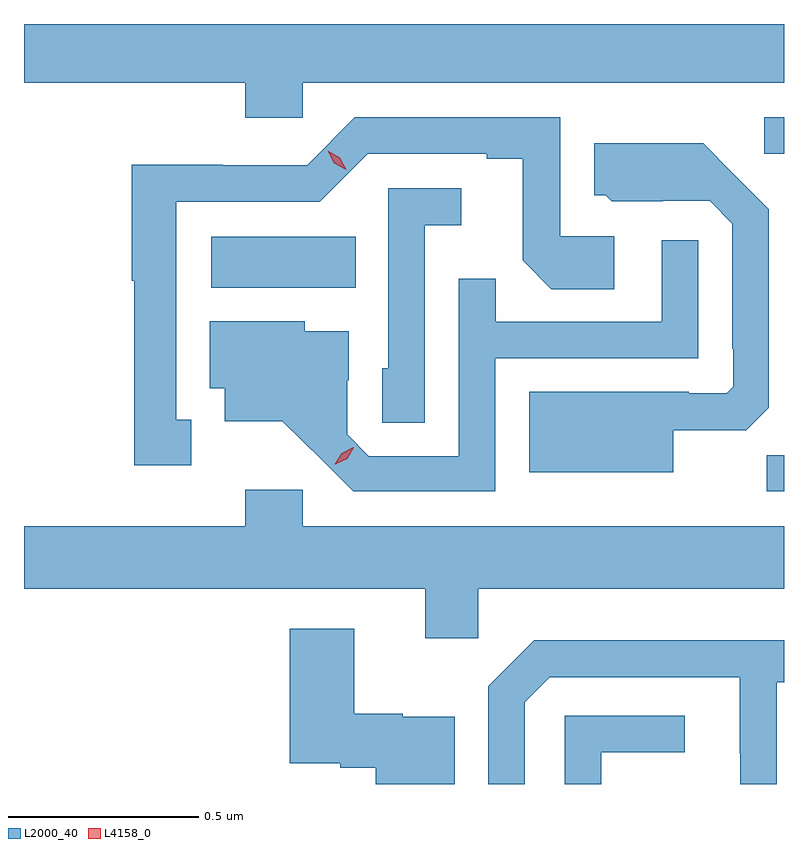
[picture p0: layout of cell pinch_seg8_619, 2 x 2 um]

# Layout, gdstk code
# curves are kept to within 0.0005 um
import gdstk
lib = gdstk.Library(unit=1e-6, precision=1e-09)
def R(c, l, rs):  # rectangles x0, y0, x1, y1
    for r in rs: c.add(gdstk.rectangle(r[:2], r[2:], *l))
def P(c, l, *ps):  # polygons
    for p in ps: c.add(gdstk.Polygon(p, *l))
L2000_40 = (2000, 40)
L4158_0 = (4158, 0)

pinch_seg8_619 = lib.new_cell('pinch_seg8_619')
R(pinch_seg8_619, L2000_40, [(169.918,1100.772,169.963,1100.867), (168.456,1101.308,168.836,1101.442), (169.911,1101.66,169.963,1101.756)])
P(pinch_seg8_619, L2000_40, [(168.696,1101.848),(169.963,1101.848),(169.963,1102.002),(167.963,1102.002),(167.963,1101.848),(168.545,1101.848),(168.545,1101.755),(168.696,1101.755)],
  [(168.403,1100.961),(168.364,1100.961),(168.364,1101.534),(168.741,1101.534),(168.867,1101.66),(169.181,1101.66),(169.181,1101.648),(169.275,1101.648),(169.275,1101.38),(169.351,1101.304),(169.516,1101.304),(169.516,1101.444),(169.374,1101.444),(169.374,1101.756),(168.834,1101.756),(168.708,1101.63),(168.486,1101.63),(168.486,1101.632),(168.246,1101.632),(168.246,1101.327),(168.253,1101.327),(168.253,1100.841),(168.403,1100.841)],
  [(169.672,1100.933),(169.864,1100.933),(169.923,1100.992),(169.923,1101.514),(169.751,1101.688),(169.463,1101.688),(169.463,1101.552),(169.494,1101.552),(169.51,1101.536),(169.644,1101.536),(169.644,1101.537),(169.767,1101.537),(169.827,1101.477),(169.827,1101.148),(169.83,1101.148),(169.83,1101.048),(169.812,1101.03),(169.712,1101.03),(169.712,1101.034),(169.292,1101.034),(169.292,1100.822),(169.672,1100.822)],
  [(169.017,1101.473),(169.114,1101.473),(169.114,1101.57),(168.921,1101.57),(168.921,1101.096),(168.906,1101.096),(168.906,1100.953),(169.017,1100.953)],
  [(169.203,1101.123),(169.737,1101.123),(169.737,1101.433),(169.641,1101.433),(169.641,1101.219),(169.205,1101.219),(169.205,1101.332),(169.107,1101.332),(169.107,1100.865),(168.87,1100.865),(168.813,1100.922),(168.813,1101.064),(168.817,1101.064),(168.817,1101.193),(168.702,1101.193),(168.702,1101.22),(168.452,1101.22),(168.452,1101.044),(168.491,1101.044),(168.491,1100.957),(168.643,1100.957),(168.83,1100.772),(169.203,1100.772)],
  [(169.158,1100.516),(169.963,1100.516),(169.963,1100.68),(168.696,1100.68),(168.696,1100.776),(168.545,1100.776),(168.545,1100.68),(167.963,1100.68),(167.963,1100.516),(169.019,1100.516),(169.019,1100.385),(169.158,1100.385)],
  [(169.096,1100.179),(168.96,1100.179),(168.96,1100.187),(168.832,1100.187),(168.832,1100.41),(168.662,1100.41),(168.662,1100.057),(168.795,1100.057),(168.795,1100.045),(168.889,1100.045),(168.889,1100.002),(169.096,1100.002)],
  [(169.281,1100.217),(169.347,1100.283),(169.847,1100.283),(169.847,1100.083),(169.848,1100.083),(169.848,1100.002),(169.944,1100.002),(169.944,1100.27),(169.963,1100.27),(169.963,1100.38),(169.306,1100.38),(169.185,1100.259),(169.185,1100.002),(169.281,1100.002)],
  [(169.482,1100.085),(169.702,1100.085),(169.702,1100.181),(169.386,1100.181),(169.386,1100.002),(169.482,1100.002)])
P(pinch_seg8_619, L4158_0, [(168.781,1100.843),(168.781,1100.844),(168.799,1100.873),(168.83,1100.888),(168.831,1100.888),(168.831,1100.888),(168.813,1100.858),(168.782,1100.843)],
  [(168.811,1101.618),(168.779,1101.636),(168.762,1101.669),(168.762,1101.669),(168.762,1101.669),(168.794,1101.65),(168.811,1101.618),(168.811,1101.618)])

lib.write_gds('pinch_seg8_619.gds')
